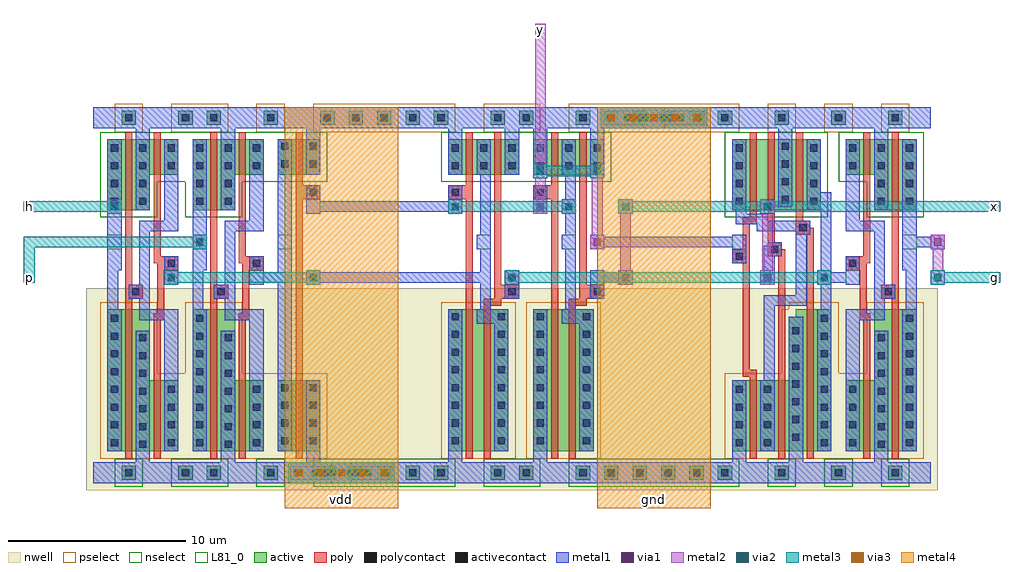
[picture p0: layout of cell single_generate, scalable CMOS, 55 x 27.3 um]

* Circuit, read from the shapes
.subckt single_generate g gnd h p vdd x y
M1 gnd n1 h gnd nfet w=4u l=0.4u
M2 n1 BUFX2_0/A gnd gnd nfet w=2u l=0.4u
M3 gnd n2 p gnd nfet w=4u l=0.4u
M4 n2 n3 gnd gnd nfet w=2u l=0.4u
M5 gnd NOR2X1_7/A n3 gnd nfet w=2u l=0.4u
M6 BUFX2_0/A NOR2X1_7/A gnd gnd nfet w=2u l=0.4u
M7 gnd BUFX2_14/A BUFX2_0/A gnd nfet w=2u l=0.4u
M8 NOR2X1_7/A y gnd gnd nfet w=2u l=0.4u
M9 gnd x NOR2X1_7/A gnd nfet w=2u l=0.4u
M10 n4 y n5 gnd nfet w=4u l=0.4u
M11 gnd x n4 gnd nfet w=4u l=0.4u
M12 BUFX2_14/A n5 gnd gnd nfet w=4u l=0.4u
M13 gnd BUFX2_14/A n6 gnd nfet w=2u l=0.4u
M14 g n6 gnd gnd nfet w=4u l=0.4u
M15 vdd n1 h vdd pfet w=8u l=0.4u
M16 n1 BUFX2_0/A vdd vdd pfet w=4u l=0.4u
M17 vdd n2 p vdd pfet w=8u l=0.4u
M18 n2 n3 vdd vdd pfet w=4u l=0.4u
M19 vdd NOR2X1_7/A n3 vdd pfet w=4u l=0.4u
M20 n7 NOR2X1_7/A vdd vdd pfet w=8u l=0.4u
M21 BUFX2_0/A BUFX2_14/A n7 vdd pfet w=8u l=0.4u
M22 n8 y vdd vdd pfet w=8u l=0.4u
M23 NOR2X1_7/A x n8 vdd pfet w=8u l=0.4u
M24 n5 y vdd vdd pfet w=4u l=0.4u
M25 vdd x n5 vdd pfet w=4u l=0.4u
M26 BUFX2_14/A n5 vdd vdd pfet w=8u l=0.4u
M27 vdd BUFX2_14/A n6 vdd pfet w=4u l=0.4u
M28 g n6 vdd vdd pfet w=8u l=0.4u
.ends

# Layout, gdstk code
from math import pi, radians
import gdstk
lib = gdstk.Library(unit=1e-6, precision=1e-09)
def R(c, l, rs):  # rectangles x0, y0, x1, y1
    for r in rs: c.add(gdstk.rectangle(r[:2], r[2:], *l))
def A(c, l, x, y, w, h, nx, ny, dx, dy):  # array of equal rectangles
    R(c, l, [(x+i*dx, y+j*dy, x+i*dx+w, y+j*dy+h) for i in range(nx) for j in range(ny)])
via3 = (30, 0)
metal4 = (31, 0)
nwell = (42, 0)
active = (43, 0)
pselect = (44, 0)
nselect = (45, 0)
poly = (46, 0)
polycontact = (47, 0)
activecontact = (48, 0)
metal1 = (49, 0)
via1 = (50, 0)
metal2 = (51, 0)
via2 = (61, 0)
metal3 = (62, 0)
L81_0 = (81, 0)

bufx2 = lib.new_cell('BUFX2')
R(bufx2, nwell, [(-1,9.6,5.6,21)])
R(bufx2, active, [(-0.4,-0.4,0.4,0.4), (2.8,-0.4,3.6,0.4), (0.4,1.2,4.4,3.2), (2,3.2,4.4,5.2), (2,10.8,4.4,14.8), (0.4,14.8,4.4,18.8), (-0.4,19.6,0.4,20.4), (2.8,19.6,3.6,20.4)])
R(bufx2, pselect, [(-0.8,-0.8,0.8,0.8), (2.4,-0.8,4,0.8), (1.6,10.4,4.8,14.4), (0,14.4,4.8,19.2)])
R(bufx2, nselect, [(0,0.8,4.8,3.6), (1.6,3.6,4.8,5.6), (-0.8,19.2,0.8,20.8), (2.4,19.2,4,20.8)])
R(bufx2, poly, [(1.4,0.8,1.8,7.8), (3,0.8,3.4,9.4), (0.4,7.8,1.8,8.2), (0.4,8.2,1.6,8.6), (1.2,8.6,1.6,11), (2.4,9.4,3.4,10.2), (3,10.2,3.4,19.2), (1.2,11,1.8,11.4), (1.4,11.4,1.8,19.2)])
R(bufx2, polycontact, [(0.6,8,1,8.4), (2.6,9.6,3,10)])
A(bufx2, activecontact, 0.6, 1.5, 0.4, 0.4, 3, 2, 1.6, 1)
A(bufx2, activecontact, 3.8, 11.1, 0.4, 0.4, 1, 8, 0, 1)
A(bufx2, activecontact, 2.2, 12.2, 0.4, 0.4, 1, 7, 0, 1)
A(bufx2, activecontact, 0.6, 15.1, 0.4, 0.4, 1, 4, 0, 1)
R(bufx2, activecontact, [(-0.2,-0.2,0.2,0.2), (3,-0.2,3.4,0.2), (2.2,3.5,2.6,3.9), (3.8,3.5,4.2,3.9), (2.2,4.5,2.6,4.9), (3.8,4.5,4.2,4.9), (-0.2,19.8,0.2,20.2), (3,19.8,3.4,20.2)])
R(bufx2, metal1, [(-0.4,-0.6,5.2,0.6), (2,0.6,2.8,5.2), (0.4,1.2,1.2,5.8), (3.6,1.2,4.4,8.6), (0.4,5.8,2.6,6.4), (2,6.4,2.6,9.4), (0.4,7.8,1.2,9.4), (3.8,8.6,4.4,10.8), (2,9.4,3.2,10.2), (2,10.2,2.6,10.8), (0.4,10.8,2.6,11.4), (3.6,10.8,4.4,18.8), (0.4,11.4,1.2,18.8), (2,12,2.8,19.4), (-0.4,19.4,5.2,20.6)])
R(bufx2, L81_0, [(3.6,6.6,4.4,7.4), (0.4,8.6,1.2,9.4)])
bufx2.add(gdstk.Label('vdd', (0.8,20), layer=109, texttype=0))
bufx2.add(gdstk.Label('gnd', (0.8,0), layer=109, texttype=0))
bufx2.add(gdstk.Label('A', (0.8,9), layer=109, texttype=0))
bufx2.add(gdstk.Label('Y', (4,7), layer=109, texttype=0))

invx1 = lib.new_cell('INVX1')
R(invx1, nwell, [(-1.8,9.6,5.2,21)])
R(invx1, active, [(-0.4,-0.4,0.4,0.4), (0.4,1.2,2.8,3.2), (0.4,14.8,2.8,18.8), (-0.4,19.6,0.4,20.4)])
R(invx1, pselect, [(-0.8,-0.8,0.8,0.8), (0,14.4,3.2,19.2)])
R(invx1, nselect, [(0,0.8,3.2,3.6), (-0.8,19.2,0.8,20.8)])
R(invx1, poly, [(1.4,0.8,1.8,3.8), (0.4,3.8,1.8,4.6), (1.4,4.6,1.8,19.2)])
R(invx1, polycontact, [(0.6,4,1,4.4)])
A(invx1, activecontact, 0.6, 15, 0.4, 0.4, 1, 4, 0, 1)
A(invx1, activecontact, 2.2, 15, 0.4, 0.4, 1, 4, 0, 1)
R(invx1, activecontact, [(-0.2,-0.2,0.2,0.2), (0.6,1.4,1,1.8), (2.2,1.4,2.6,1.8), (0.6,2.4,1,2.8), (2.2,2.4,2.6,2.8), (-0.2,19.8,0.2,20.2)])
R(invx1, metal1, [(-0.4,-0.6,3.6,0.6), (0.4,0.6,1.2,3.2), (2,1.2,2.8,18.8), (0.4,3.8,1.2,5.4), (0.4,14.8,1.2,19.4), (-0.4,19.4,3.6,20.6)])
R(invx1, L81_0, [(0.4,4.6,1.2,5.4), (2,6.6,2.8,7.4)])
invx1.add(gdstk.Label('A', (0.8,5), layer=109, texttype=0))
invx1.add(gdstk.Label('Y', (2.4,7), layer=109, texttype=0))
invx1.add(gdstk.Label('vdd', (0.8,20), layer=109, texttype=0))
invx1.add(gdstk.Label('gnd', (0.8,0), layer=109, texttype=0))

fill = lib.new_cell('FILL')
R(fill, nwell, [(-1.6,9.6,3.2,21)])
R(fill, active, [(-0.4,-0.4,0.4,0.4), (1.2,-0.4,2,0.4), (-0.4,19.6,0.4,20.4), (1.2,19.6,2,20.4)])
R(fill, pselect, [(-0.8,-0.8,2.4,0.8)])
R(fill, nselect, [(-0.8,19.2,2.4,20.8)])
R(fill, activecontact, [(-0.2,-0.2,0.2,0.2), (1.4,-0.2,1.8,0.2), (-0.2,19.8,0.2,20.2), (1.4,19.8,1.8,20.2)])
R(fill, metal1, [(-0.4,-0.6,2,0.6), (-0.4,19.4,2,20.6)])
fill.add(gdstk.Label('vdd', (0.8,20), layer=109, texttype=0))
fill.add(gdstk.Label('gnd', (0.8,0), layer=109, texttype=0))

nor2x1 = lib.new_cell('NOR2X1')
R(nor2x1, nwell, [(-1.6,9.6,6.4,21)])
R(nor2x1, active, [(-0.4,-0.4,0.4,0.4), (2.8,-0.4,3.6,0.4), (0.4,1.2,4.4,3.2), (0.4,10.8,3.8,18.8), (-0.4,19.6,0.4,20.4), (2.8,19.6,3.6,20.4)])
R(nor2x1, pselect, [(-0.8,-0.8,0.8,0.8), (2.4,-0.8,4,0.8), (0,10.4,4.2,19.2)])
R(nor2x1, nselect, [(0,0.8,4.8,3.6), (-0.8,19.2,0.8,20.8), (2.4,19.2,4,20.8)])
R(nor2x1, poly, [(1.4,0.8,1.8,3.8), (3,0.8,3.4,9.4), (0.4,3.8,1.8,4.6), (1.4,4.6,1.8,19.2), (3,9.4,4.4,10.2), (2.4,10.2,3.4,10.6), (2.4,10.6,2.8,19.2)])
R(nor2x1, polycontact, [(0.6,4,1,4.4), (3.8,9.6,4.2,10)])
A(nor2x1, activecontact, 0.6, 1.5, 0.4, 0.4, 3, 2, 1.6, 1)
A(nor2x1, activecontact, 0.6, 11, 0.4, 0.4, 1, 8, 0, 1)
A(nor2x1, activecontact, 3.2, 11, 0.4, 0.4, 1, 8, 0, 1)
R(nor2x1, activecontact, [(-0.2,-0.2,0.2,0.2), (3,-0.2,3.4,0.2), (-0.2,19.8,0.2,20.2), (3,19.8,3.4,20.2)])
R(nor2x1, metal1, [(-0.4,-0.6,5.2,0.6), (0.4,0.6,1.2,3.2), (3.6,0.6,4.4,3.2), (2,1.2,2.8,3.2), (2.2,3.2,2.8,6.6), (0.4,3.8,1.2,5.4), (2,6.6,2.8,7.4), (2.2,7.4,2.8,10.8), (3.6,8.6,4.4,10.2), (0.4,10.8,1.2,19.4), (2,10.8,3.8,11.6), (3,11.6,3.8,18.8), (-0.4,19.4,5.2,20.6)])
R(nor2x1, L81_0, [(0.4,4.6,1.2,5.4), (2,6.6,2.8,7.4), (3.6,8.6,4.4,9.4)])
nor2x1.add(gdstk.Label('vdd', (0.8,20), layer=109, texttype=0))
nor2x1.add(gdstk.Label('B', (4,9), layer=109, texttype=0))
nor2x1.add(gdstk.Label('gnd', (0.8,0), layer=109, texttype=0))
nor2x1.add(gdstk.Label('Y', (2.4,7), layer=109, texttype=0))
nor2x1.add(gdstk.Label('A', (0.8,5), layer=109, texttype=0))

and2x2 = lib.new_cell('AND2X2')
R(and2x2, nwell, [(-1.6,9.6,8,21)])
R(and2x2, active, [(-0.4,-0.4,0.4,0.4), (2.8,-0.4,3.6,0.4), (0.4,1.2,5.4,5.2), (4,10.8,6,11.2), (3.6,11.2,6,14.8), (0.4,14.8,6,18.8), (-0.4,19.6,0.4,20.4), (2.8,19.6,3.6,20.4)])
R(and2x2, pselect, [(-0.8,-0.8,0.8,0.8), (2.4,-0.8,4,0.8), (3.6,10.4,6.4,10.8), (3.2,10.8,6.4,14.4), (0,14.4,6.4,19.2)])
R(and2x2, nselect, [(0,0.8,5.8,5.6), (-0.8,19.2,0.8,20.8), (2.4,19.2,4,20.8)])
R(and2x2, poly, [(1.4,0.8,1.8,5.6), (2.4,0.8,2.8,7), (4,0.8,4.4,5.8), (1,5.6,1.8,6), (4,5.8,4.8,6.2), (1,6,1.4,7.4), (4,6.2,5,6.6), (4.6,6.6,5,19.2), (2.4,7,3.2,7.4), (0.4,7.4,1.4,8.2), (2.4,7.4,3.4,7.8), (3,7.8,3.4,19.2), (1,8.2,1.4,14.2), (1,14.2,1.8,14.6), (1.4,14.6,1.8,19.2)])
R(and2x2, polycontact, [(4.2,6,4.6,6.4), (2.6,7.2,3,7.6), (0.6,7.6,1,8)])
A(and2x2, activecontact, 3.2, 1.4, 0.4, 0.4, 1, 4, 0, 1)
A(and2x2, activecontact, 0.6, 1.5, 0.4, 0.4, 1, 4, 0, 1)
A(and2x2, activecontact, 4.8, 1.5, 0.4, 0.4, 1, 4, 0, 1)
A(and2x2, activecontact, 5.4, 11.1, 0.4, 0.4, 1, 8, 0, 1)
A(and2x2, activecontact, 3.8, 11.8, 0.4, 0.4, 1, 7, 0, 1)
A(and2x2, activecontact, 0.6, 15.1, 0.4, 0.4, 1, 4, 0, 1)
A(and2x2, activecontact, 2.2, 15.1, 0.4, 0.4, 1, 4, 0, 1)
R(and2x2, activecontact, [(-0.2,-0.2,0.2,0.2), (3,-0.2,3.4,0.2), (-0.2,19.8,0.2,20.2), (3,19.8,3.4,20.2)])
R(and2x2, metal1, [(-0.4,-0.6,6.8,0.6), (3,0.6,3.8,5), (0.4,1.2,1.2,5.2), (4.6,1.2,5.4,4.2), (4.6,4.2,6,5.2), (0.6,5.2,1.2,5.4), (5.4,5.2,6,8.6), (0.6,5.4,2.4,5.8), (0.6,5.8,4.8,6), (1.8,6,4.8,6.4), (4,6.4,4.8,6.6), (0.4,6.6,1.2,8.2), (4,6.6,4.6,10), (2.4,7,3.2,7.2), (2.2,7.2,3.2,7.8), (2.2,7.8,2.8,8.6), (2,8.6,2.8,9.4), (5.2,8.6,6,9.4), (5.4,9.4,6,10.8), (2.2,10,4.6,10.6), (2.2,10.6,2.8,14.8), (5.2,10.8,6,18.8), (3.6,11.2,4.4,19.4), (0.4,14.8,1.2,19.4), (2,14.8,2.8,18.8), (-0.4,19.4,6.8,20.6)])
R(and2x2, L81_0, [(0.4,6.6,1.2,7.4), (2,8.6,2.8,9.4), (5.2,8.6,6,9.4)])
and2x2.add(gdstk.Label('vdd', (0.8,20), layer=109, texttype=0))
and2x2.add(gdstk.Label('gnd', (0.8,0), layer=109, texttype=0))
and2x2.add(gdstk.Label('A', (0.8,7), layer=109, texttype=0))
and2x2.add(gdstk.Label('B', (2.4,9), layer=109, texttype=0))
and2x2.add(gdstk.Label('Y', (5.6,9), layer=109, texttype=0))

single_generate = lib.new_cell('single_generate')
A(single_generate, via3, 11.8, 0.8, 0.4, 0.4, 5, 1, 1.2, 0)
A(single_generate, via3, 29.4, 20.8, 0.4, 0.4, 5, 1, 1.2, 0)
R(single_generate, metal4, [(11.2,-1,17.6,21.6), (28.8,-1,35.2,21.6)])
R(single_generate, metal1, [(13.8,0.4,15,0.6), (11.5,0.6,17.3,1.4), (13.8,1.4,15,1.6), (4.4,11.6,5.2,12.4), (12.4,11.6,13.2,11.7), (23.6,11.6,24.4,12.4), (30,11.6,30.8,11.7), (38,11.6,38.8,12.4), (41.2,11.6,42,11.7), (9.3,11.7,11.5,12.3), (12.4,11.7,22.7,12.3), (28.5,11.7,30.8,12.3), (41.2,11.7,43.5,12.3), (12.4,12.3,13.2,12.4), (30,12.3,30.8,12.4), (41.2,12.3,42,12.4), (6,13.6,6.8,14.4), (28.4,13.6,29.2,13.7), (47.6,13.6,48.4,13.7), (28.4,13.7,37.1,14.3), (46.1,13.7,48.4,14.3), (28.4,14.3,29.2,14.4), (47.6,14.3,48.4,14.4), (1.2,15.6,2,16.4), (20.4,15.6,21.2,15.7), (25.2,15.6,26,16.4), (26.8,15.6,27.6,16.4), (12.5,15.7,21.2,16.3), (20.4,16.3,21.2,16.4), (31.4,20.4,32.6,20.6), (29.1,20.6,34.9,21.4), (31.4,21.4,32.6,21.6)])
A(single_generate, via1, 11.7, 0.8, 0.4, 0.4, 6, 1, 1, 0)
A(single_generate, via1, 29.3, 20.8, 0.4, 0.4, 6, 1, 1, 0)
R(single_generate, via1, [(4.6,11.8,5,12.2), (12.6,11.8,13,12.2), (23.8,11.8,24.2,12.2), (30.2,11.8,30.6,12.2), (38.2,11.8,38.6,12.2), (41.4,11.8,41.8,12.2), (6.2,13.8,6.6,14.2), (28.6,13.8,29,14.2), (47.8,13.8,48.2,14.2), (1.4,15.8,1.8,16.2), (20.6,15.8,21,16.2), (25.4,15.8,25.8,16.2), (27,15.8,27.4,16.2)])
R(single_generate, metal2, [(13.8,0.4,15,0.6), (11.5,0.6,17.3,1.4), (13.8,1.4,15,1.6), (4.4,11.6,5.2,12.4), (12.4,11.6,13.2,12.4), (23.6,11.6,24.4,12.4), (30,11.6,30.8,12.4), (38,11.6,38.8,12.4), (41.2,11.6,42,12.4), (47.6,11.6,48.4,12.4), (30.1,12.4,30.7,15.6), (38.1,12.4,38.7,15.6), (47.7,12.4,48.3,13.6), (6,13.6,6.8,14.4), (28.4,13.6,29.2,14.4), (47.6,13.6,48.4,14.4), (28.5,14.4,29.1,17.6), (1.2,15.6,2,16.4), (20.4,15.6,21.2,16.4), (25.2,15.6,26,16.4), (26.8,15.6,27.6,16.4), (30,15.6,30.8,16.4), (38,15.6,38.8,16.4), (25.3,16.4,25.9,17.6), (25.2,17.6,26,18.4), (28.4,17.6,29.2,18.4), (25.3,18.4,25.9,26.3), (31.4,20.4,32.6,20.6), (29.1,20.6,34.9,21.4), (31.4,21.4,32.6,21.6)])
A(single_generate, via2, 11.7, 0.8, 0.4, 0.4, 6, 1, 1, 0)
A(single_generate, via2, 29.3, 20.8, 0.4, 0.4, 6, 1, 1, 0)
R(single_generate, via2, [(4.6,11.8,5,12.2), (12.6,11.8,13,12.2), (23.8,11.8,24.2,12.2), (41.4,11.8,41.8,12.2), (47.8,11.8,48.2,12.2), (6.2,13.8,6.6,14.2), (1.4,15.8,1.8,16.2), (20.6,15.8,21,16.2), (27,15.8,27.4,16.2), (30.2,15.8,30.6,16.2), (38.2,15.8,38.6,16.2), (25.4,17.8,25.8,18.2), (28.6,17.8,29,18.2)])
R(single_generate, metal3, [(11.4,0.4,17.4,1.6), (4.4,11.6,5.2,11.7), (12.4,11.6,13.2,11.7), (23.6,11.6,24.4,11.7), (41.2,11.6,42,11.7), (47.6,11.6,48.4,11.7), (-3.5,11.7,-2.9,13.7), (4.4,11.7,13.2,12.3), (23.6,11.7,42,12.3), (47.6,11.7,51.5,12.3), (4.4,12.3,5.2,12.4), (12.4,12.3,13.2,12.4), (23.6,12.3,24.4,12.4), (41.2,12.3,42,12.4), (47.6,12.3,48.4,12.4), (6,13.6,6.8,13.7), (-3.5,13.7,6.8,14.3), (6,14.3,6.8,14.4), (1.2,15.6,2,15.7), (20.4,15.6,21.2,15.7), (26.8,15.6,27.6,15.7), (30,15.6,30.8,15.7), (38,15.6,38.8,15.7), (-3.5,15.7,2,16.3), (20.4,15.7,27.6,16.3), (30,15.7,51.5,16.3), (1.2,16.3,2,16.4), (20.4,16.3,21.2,16.4), (26.8,16.3,27.6,16.4), (30,16.3,30.8,16.4), (38,16.3,38.8,16.4), (25.2,17.6,26,17.7), (28.4,17.6,29.2,17.7), (25.2,17.7,29.2,18.3), (25.2,18.3,26,18.4), (28.4,18.3,29.2,18.4), (29,20.4,35,21.6)])
single_generate.add(gdstk.Reference(bufx2, (10.4,21), rotation=pi))
single_generate.add(gdstk.Reference(bufx2, (5.6,21), rotation=pi))
single_generate.add(gdstk.Reference(invx1, (13.6,21), rotation=pi))
single_generate.add(gdstk.Reference(fill, (20,21), rotation=pi))
single_generate.add(gdstk.Reference(fill, (18.4,21), rotation=pi))
single_generate.add(gdstk.Reference(fill, (16.8,21), rotation=pi))
single_generate.add(gdstk.Reference(fill, (15.2,21), rotation=pi))
single_generate.add(gdstk.Reference(nor2x1, (20,21), x_reflection=True))
single_generate.add(gdstk.Reference(fill, (31.2,21), rotation=pi))
single_generate.add(gdstk.Reference(nor2x1, (24.8,21), x_reflection=True))
single_generate.add(gdstk.Reference(fill, (36,21), rotation=pi))
single_generate.add(gdstk.Reference(fill, (34.4,21), rotation=pi))
single_generate.add(gdstk.Reference(fill, (32.8,21), rotation=pi))
single_generate.add(gdstk.Reference(and2x2, (36,21), x_reflection=True))
single_generate.add(gdstk.Reference(bufx2, (42.4,21), x_reflection=True))
single_generate.add(gdstk.Label('vdd', (14.4,-0.5), layer=31, texttype=0))
single_generate.add(gdstk.Label('gnd', (32,-0.5), layer=31, texttype=0))
single_generate.add(gdstk.Label('g', (51.2,12), layer=62, texttype=0))
single_generate.add(gdstk.Label('h', (-3.2,16), layer=62, texttype=0))
single_generate.add(gdstk.Label('p', (-3.2,12), layer=62, texttype=0))
single_generate.add(gdstk.Label('x', (51.2,16), layer=62, texttype=0))
single_generate.add(gdstk.Label('y', (25.6,26), layer=51, texttype=0))

lib.write_gds('single_generate.gds')
